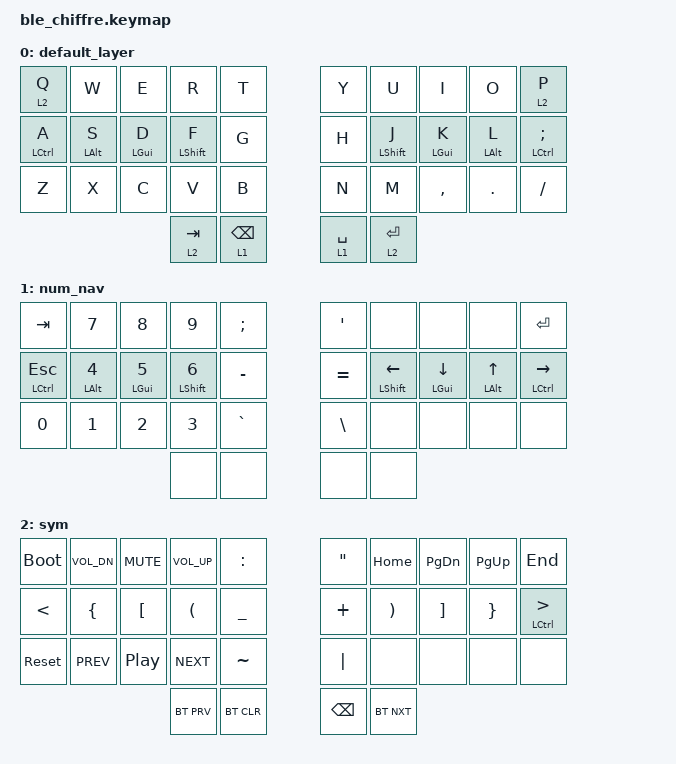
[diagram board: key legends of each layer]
/*
 * Copyright (c) 2020 The ZMK Contributors
 *
 * SPDX-License-Identifier: MIT
 */

#include <behaviors.dtsi>
#include <dt-bindings/zmk/keys.h>
#include <dt-bindings/zmk/bt.h>
#include <dt-bindings/zmk/rgb.h>

#define DEFAULT 0
#define NUM_SYM 1
#define NAV     2

/ {
	behaviors {
		rst: boot_reset 
		{
			compatible = "zmk,behavior-hold-tap";
			label = "Bootloader Tap - Reset Hold";
			#binding-cells = <2>;
			tapping_term_ms = <200>;
            flavor = "balanced";
			bindings = <&sys_reset>, <&bootloader>;
        };

        bh: layer_taps 
		{
			compatible = "zmk,behavior-hold-tap";
			label = "Layer-Tap";
			#binding-cells = <2>;
			tapping_term_ms = <200>;
            flavor = "tap-preferred";
			bindings = <&mo>, <&kp>;
        };

        hm: homerow_mods0 
		{
			compatible = "zmk,behavior-hold-tap";
			label = "homerow mods";
			#binding-cells = <2>;
			tapping_term_ms = <200>;
            flavor = "tap-preferred";
			bindings = <&kp>, <&kp>;
        };
        
        hm1: homerow_mods1 
		{
			compatible = "zmk,behavior-hold-tap";
			label = "homerow mods";
			#binding-cells = <2>;
			tapping_term_ms = <205>;
            flavor = "tap-preferred";
			bindings = <&kp>, <&kp>;
        };

        hm2: homerow_mods2 
		{
			compatible = "zmk,behavior-hold-tap";
			label = "homerow mods 2";
			#binding-cells = <2>;
			tapping_term_ms = <250>;
            flavor = "tap-preferred";
			bindings = <&kp>, <&kp>;
        };

        com_col: comma_semicolon
		{
		 	compatible = "zmk,behavior-hold-tap";
	     	label = "Tap comma_hold colon";
			#binding-cells = <2>;
			tapping_term_ms = <150>;
            flavor = "balanced";
		 	bindings = <&kp>, <&kp>;
	    };
   	 };
};

/ {
	combos {
		compatible = "zmk,combos";
		combo_backspce {
			timeout-ms = <50>;
			key-positions = <8 9>;
			bindings = <&kp BSPC>;
		};
		combo_gesc 
		{
			timeout-ms = <30>;
			key-positions = <0 1>;
			bindings = <&com_col GRAVE ESC>;
		};
		combo_tab 
		{
			timeout-ms = <35>;
			key-positions = <11 12>;
			bindings = <&kp TAB>;
		};
		combo_mnxt 
		{
			timeout-ms = <30>;
			key-positions = <28 29>;
			bindings = <&kp C_NEXT>;
		};
		combo_mprev 
		{
			timeout-ms = <30>;
			key-positions = <27 28>;
			bindings = <&kp C_PREV>;	
		};
		combo_mpp 
		{
			timeout-ms = <30>;
			key-positions = <27 29>;
			bindings = <&kp C_PP>;
		};
		combo_del 
		{
			timeout-ms = <40>;
			key-positions = <7 8 9>;
			bindings = <&kp DEL>;
		};
	};
};

/ {
    keymap 
	{
    compatible = "zmk,keymap";

    default_layer {
            bindings = <
    &bh 2 Q     &kp W      &kp E      &kp R       &kp T &kp Y &kp U       &kp I      &kp O      &bh 2 P
    &hm LCTRL A &hm LALT S &hm LGUI D &hm LSHFT F &kp G &kp H &hm LSHFT J &hm LGUI K &hm LALT L &hm LCTRL SEMI
    &kp Z       &kp X      &kp C      &kp V       &kp B &kp N &kp M       &kp COMMA  &kp DOT    &kp FSLH
    &bh 2 TAB &bh 1 BSPC &bh 1 SPACE &bh 2 RET
            >;
        };
    num_nav {
            bindings = <
    &kp TAB       &kp N7      &kp N8      &kp N9       &kp SEMI  &kp SQT   &none          &none         &none       &kp RET
    &hm LCTRL ESC &hm LALT N4 &hm LGUI N5 &hm LSHFT N6 &kp MINUS &kp EQUAL &hm LSHFT LEFT &hm LGUI DOWN &hm LALT UP &hm LCTRL RIGHT
    &kp N0        &kp N1      &kp N2      &kp N3       &kp GRAVE &kp BSLH  &none          &none         &none       &none
    &none &none &none &none
            >;
        };
	
	sym {
            bindings = <
    &bootloader &kp C_VOL_DN &kp K_MUTE &kp C_VOL_UP &kp COLON &kp DQT  &kp HOME &kp PG_DN  &kp PG_UP &kp END
    &kp LT      &kp LBRC     &kp LBKT   &kp LPAR     &kp UNDER &kp PLUS &kp RPAR &kp RBKT   &kp RBRC  &hm LCTRL GT
    &sys_reset  &kp C_PREV   &kp C_PP   &kp C_NEXT   &kp TILDE &kp PIPE &none    &none      &none     &none
    &bt BT_PRV &bt BT_CLR &kp BSPC &bt BT_NXT
            >;
        };

    };
};
